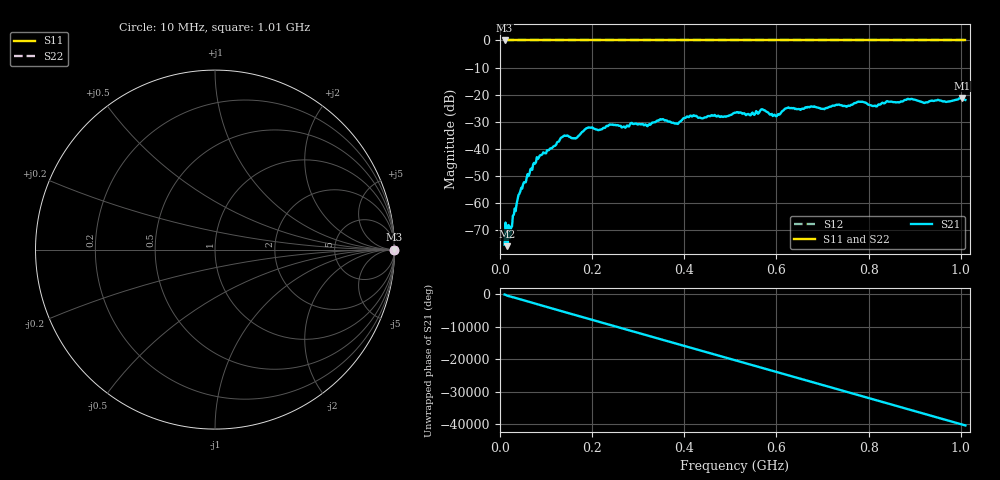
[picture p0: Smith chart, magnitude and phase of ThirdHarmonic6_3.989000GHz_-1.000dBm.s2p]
! 8/17/2025 2:13:36 PM
! C:\ANRITSUVNA\TEMP\TEMP.S2P
! CHANNEL.1
! TR.MEASUREMENT
! RAW.DATA
! RF.CORRECTION.OFF
! AVERAGING.OFF
! IF.BANDWIDTH: 5KHZ
! SWEEPTYPE:  FREQ.SWEEP(Linear)
! Reference Plane Port Info
! PORT:  PORT1  PORT2
! DISTANCE:  0  m  0  m
! TIME:  0  s  0  s
! PHASE.OFFSET:  0  deg.  0  deg.
! LOSS:  0  dB  0  dB
! REF.LOSS:  0  dB  0  dB
! REF.FREQ:  0  Hz  0  Hz
! Power Info
! POWER:  -20  dBm  -20  dBm
! EFF.POWER:  -20  dBm  -20  dBm
! SOURCE.ATTEN:  0  dB  0  dB
! TEST.ATTEN:  0  dB  0  dB
# GHZ S RI R 50.0
! FREQ.GHZ  S11RE  S11IM  S21RE  S21IM  S12RE  S12IM  S22RE  S22IM
!; PortSelection: Port_12
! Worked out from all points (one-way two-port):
!   501 points, 10 MHz to 1.01 GHz, reference 50 ohm
!   highest |S21| = -21.26 dB at 1.002 GHz (marker M1); lowest = -75.9 dB at 16 MHz (marker M2)
!   lowest |S11| = 0.0 dB at 10 MHz (marker M3)
!   |S11| at or under -10 dB: nowhere
!   |S22| runs from 0.0 to 0.0 dB; largest |S21 - S12| = 1.1
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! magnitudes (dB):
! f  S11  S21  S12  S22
! 10 MHz  0.0  -75.4  0.0  0.0
! 16 MHz  0.0  -75.9  0.0  0.0
! 20 MHz  0.0  -68.4  0.0  0.0
! 26 MHz  0.0  -68.7  0.0  0.0
! 40 MHz  0.0  -57.1  0.0  0.0
! 48 MHz  0.0  -54.7  0.0  0.0
! 84 MHz  0.0  -43.3  0.0  0.0
! 136 MHz  0.0  -35.6  0.0  0.0
! 164 MHz  0.0  -36.2  0.0  0.0
! 178 MHz  0.0  -33.8  0.0  0.0
! 344 MHz  0.0  -29.6  0.0  0.0
! 382 MHz  0.0  -30.6  0.0  0.0
! 416 MHz  0.0  -28.1  0.0  0.0
! 510 MHz  0.0  -26.7  0.0  0.0
! 570 MHz  0.0  -25.4  0.0  0.0
! 596 MHz  0.0  -27.4  0.0  0.0
! 622 MHz  0.0  -25.0  0.0  0.0
! 678 MHz  0.0  -24.4  0.0  0.0
! 814 MHz  0.0  -24.1  0.0  0.0
! 844 MHz  0.0  -22.6  0.0  0.0
! 1.002 GHz  0.0  -21.3  0.0  0.0
! 1.01 GHz  0.0  -22.0  0.0  0.0
